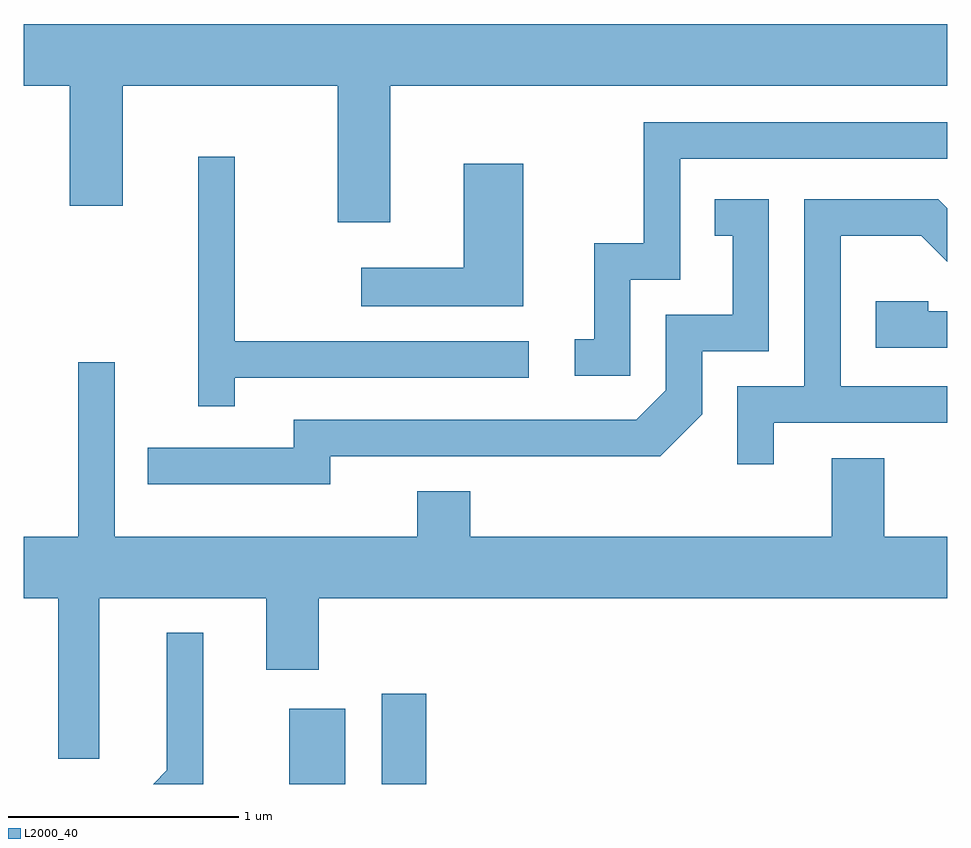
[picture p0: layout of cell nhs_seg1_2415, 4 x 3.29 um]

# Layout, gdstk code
import gdstk
lib = gdstk.Library(unit=1e-6, precision=1e-09)
def R(c, l, rs):  # rectangles x0, y0, x1, y1
    for r in rs: c.add(gdstk.rectangle(r[:2], r[2:], *l))
def P(c, l, *ps):  # polygons
    for p in ps: c.add(gdstk.Polygon(p, *l))
L2000_40 = (2000, 40)

nhs_seg1_2415 = lib.new_cell('nhs_seg1_2415')
R(nhs_seg1_2415, L2000_40, [(260.761,847.712,261.004,848.039), (261.161,847.712,261.354,848.104)])
P(nhs_seg1_2415, L2000_40, [(261.199,850.736),(263.611,850.736),(263.611,851.004),(259.611,851.004),(259.611,850.736),(259.811,850.736),(259.811,850.216),(260.039,850.216),(260.039,850.736),(260.971,850.736),(260.971,850.146),(261.199,850.146)],
  [(262.239,849.896),(262.454,849.896),(262.454,850.421),(263.611,850.421),(263.611,850.579),(262.296,850.579),(262.296,850.054),(262.081,850.054),(262.081,849.639),(261.998,849.639),(261.998,849.481),(262.239,849.481)],
  [(260.524,849.471),(261.798,849.471),(261.798,849.629),(260.524,849.629),(260.524,850.428),(260.366,850.428),(260.366,849.348),(260.524,849.348)],
  [(261.774,850.399),(261.516,850.399),(261.516,849.949),(261.073,849.949),(261.073,849.781),(261.774,849.781)],
  [(262.859,849.276),(263.611,849.276),(263.611,849.434),(263.149,849.434),(263.149,850.086),(263.499,850.086),(263.611,849.974),(263.611,850.205),(263.572,850.244),(262.991,850.244),(262.991,849.434),(262.701,849.434),(262.701,849.098),(262.859,849.098)],
  [(260.939,849.131),(262.367,849.131),(262.549,849.314),(262.549,849.586),(262.839,849.586),(262.839,850.244),(262.603,850.244),(262.603,850.086),(262.681,850.086),(262.681,849.744),(262.391,849.744),(262.391,849.417),(262.264,849.289),(260.781,849.289),(260.781,849.169),(260.147,849.169),(260.147,849.011),(260.939,849.011)],
  [(263.611,849.759),(263.529,849.759),(263.529,849.804),(263.301,849.804),(263.301,849.601),(263.611,849.601)],
  [(259.939,848.516),(260.661,848.516),(260.661,848.206),(260.889,848.206),(260.889,848.516),(263.611,848.516),(263.611,848.784),(263.339,848.784),(263.339,849.124),(263.111,849.124),(263.111,848.784),(261.544,848.784),(261.544,848.979),(261.316,848.979),(261.316,848.784),(260.004,848.784),(260.004,849.538),(259.846,849.538),(259.846,848.784),(259.611,848.784),(259.611,848.516),(259.761,848.516),(259.761,847.821),(259.939,847.821)],
  [(260.389,848.368),(260.231,848.368),(260.231,847.772),(260.171,847.712),(260.389,847.712)])

lib.write_gds('nhs_seg1_2415.gds')
